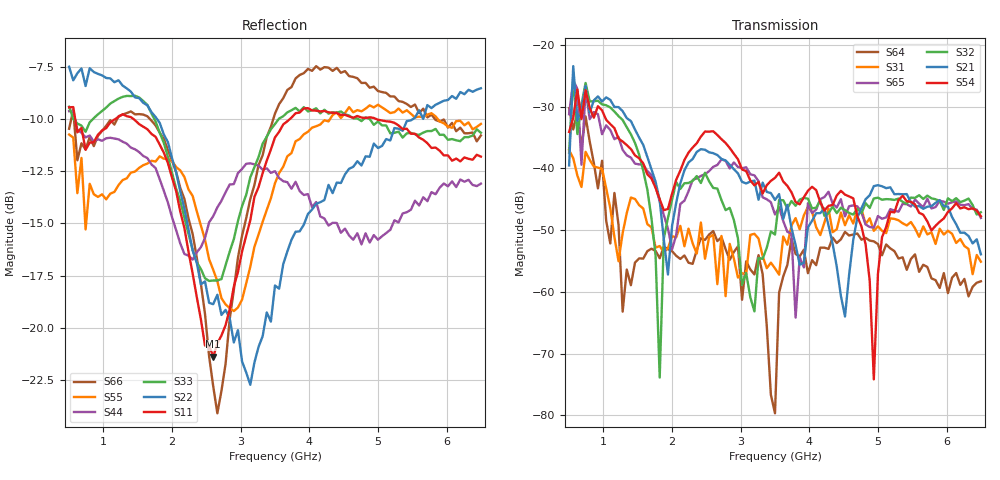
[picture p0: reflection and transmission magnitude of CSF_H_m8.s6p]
!Keysight Technologies,M9804A,MY58100912,A.14.10.03
!Date: Thursday, April 27, 2023 10:28:33
!Correction: S11(C  6-Port  )
!S12(C  6-Port  )
!S13(C  6-Port  )
!S14(C  6-Port  )
!S15(C  6-Port  )
!S16(C  6-Port  )
!S21(C  6-Port  )
!S22(C  6-Port  )
!S23(C  6-Port  )
!S24(C  6-Port  )
!S25(C  6-Port  )
!S26(C  6-Port  )
!S31(C  6-Port  )
!S32(C  6-Port  )
!S33(C  6-Port  )
!S34(C  6-Port  )
!S35(C  6-Port  )
!S36(C  6-Port  )
!S41(C  6-Port  )
!S42(C  6-Port  )
!S43(C  6-Port  )
!S44(C  6-Port  )
!S45(C  6-Port  )
!S46(C  6-Port  )
!S51(C  6-Port  )
!S52(C  6-Port  )
!S53(C  6-Port  )
!S54(C  6-Port  )
!S55(C  6-Port  )
!S56(C  6-Port  )
!S61(C  6-Port  )
!S62(C  6-Port  )
!S63(C  6-Port  )
!S64(C  6-Port  )
!S65(C  6-Port  )
!S66(C  6-Port  )
!S6P File: Measurement: :
# Hz S  RI  R 50
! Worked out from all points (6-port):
!   101 points, 500 MHz to 6.5 GHz, reference 50 ohm
!   strongest paths, dB at 500 MHz, 2 GHz, 3.5 GHz, 5 GHz, 6.5 GHz:
!     S54: -34.1, -44.1, -41.5, -57.0, -47.7
!     S21: -39.5, -49.3, -45.1, -42.7, -53.9
!     S32: -37.4, -45.1, -50.7, -44.7, -47.1
!     S65: -31.2, -53.1, -47.5, -47.7, -48.0
!     S31: -37.1, -51.0, -56.2, -49.4, -55.1
!     S64: -30.3, -53.4, -79.7, -52.3, -58.3
!   lowest |S11| = -21.4 dB at 2.6 GHz (marker M1), VSWR 1.19, Z = 42.4 + j2.19 ohm
!   |S11| at or under -10 dB: 588.7 MHz to 1.168 GHz (579.6 MHz wide, 66 % of centre); 1.44 GHz to 3.715 GHz (2.275 GHz wide, 88.3 % of centre); 4.98 GHz to end of sweep
